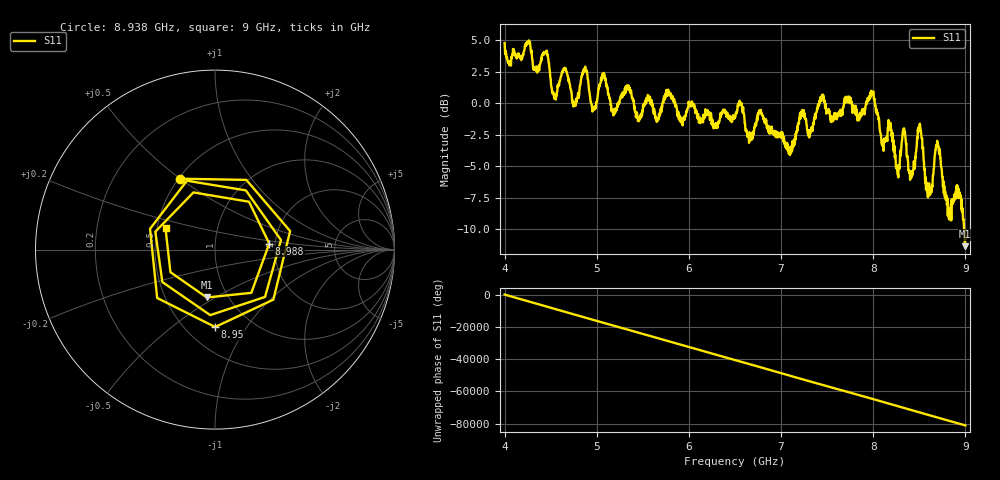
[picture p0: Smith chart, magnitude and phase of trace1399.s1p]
! Created with skrf 1.8.0 (http://scikit-rf.org).
# Hz S RI R 50.0
!freq ReS11 ImS11
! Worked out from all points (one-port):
!   1601 points, 4 GHz to 9 GHz, reference 50 ohm
!   lowest |S11| = -11.4 dB at 8.994 GHz (marker M1), VSWR 1.74, Z = 39.8 - j22.9 ohm
!   |S11| at or under -10 dB: 8.985867 GHz to end of sweep
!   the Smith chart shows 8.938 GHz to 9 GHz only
!   S11 on the Smith chart (normalised r, x): 8.938 GHz: 0.51, +0.50; 8.95 GHz: 0.69, -0.73; 8.988 GHz: 1.86, +0.14; 9 GHz: 0.55, +0.14
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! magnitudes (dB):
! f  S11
! 4 GHz  4.8
! 4.444 GHz  4.0
! 4.541 GHz  0.8
! 4.625 GHz  2.5
! 4.756 GHz  -0.1
! 4.869 GHz  2.8
! 4.962 GHz  -0.3
! 5.069 GHz  2.1
! 5.25 GHz  0.3
! 5.875 GHz  -1.0
! 6.5 GHz  -1.1
! 7.125 GHz  -3.0
! 7.441 GHz  0.4
! 7.75 GHz  0.4
! 7.988 GHz  0.7
! 8.1 GHz  -3.4
! 8.334 GHz  -2.0
! 8.375 GHz  -4.5
! 8.425 GHz  -5.7
! 8.506 GHz  -1.6
! 8.597 GHz  -6.7
! 8.697 GHz  -3.2
! 8.822 GHz  -9.2
! 8.938 GHz  -7.1
! 8.95 GHz  -7.3
! 8.988 GHz  -10.3
! 8.994 GHz  -11.4
! 9 GHz  -10.5
